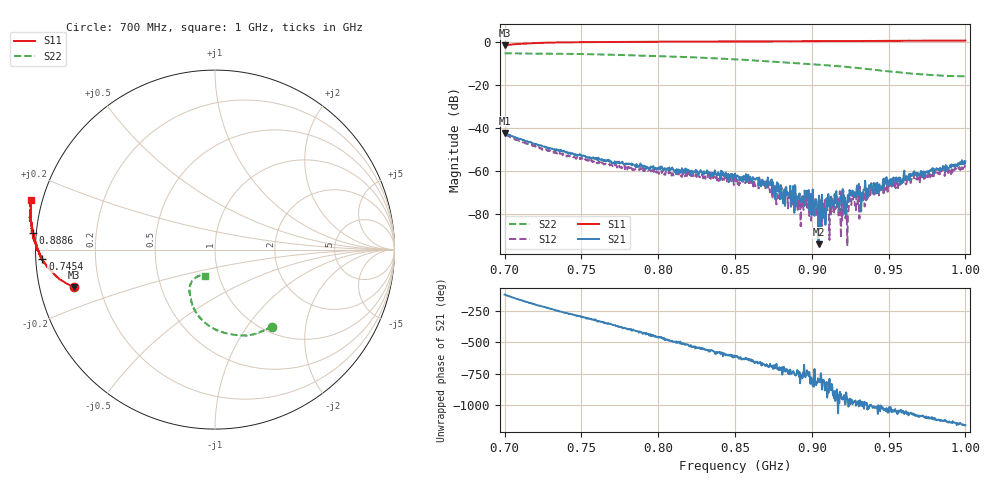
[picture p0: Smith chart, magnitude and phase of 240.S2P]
! C:\Users\rflab\Downloads\Lab5_KD_ZW\Q2\728 MHz\240.S2P
! Touchstone 1.1 file saved by VNA.EXE V1.65 (www.ke5fx.com/gpib/readme.htm)
! 11/18/2024 9:24:31 PM
!  Source: HEWLETT PACKARD,8753D,0,6.14
!  Min freq: 7.000000E+008 Hz
!  Max freq: 1.000000E+009 Hz
!  Points: 801
!  Params: S11 S21 S12 S22
# GHZ S MA R 50
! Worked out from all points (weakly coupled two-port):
!   801 points, 700 MHz to 1 GHz, reference 50 ohm
!   highest |S21| = -42.37 dB at 700 MHz (marker M1); lowest = -94.0 dB at 904.4 MHz (marker M2)
!   lowest |S11| = -1.8 dB at 700 MHz (marker M3), VSWR 9.63, Z = 5.28 - j6.48 ohm
!   |S11| at or under -10 dB: nowhere
!   |S22| runs from -16.1 to -5.4 dB; largest |S21 - S12| = 0.0025
!   S11 on the Smith chart (normalised r, x): 700 MHz: 0.11, -0.13; 745.4 MHz: 0.02, -0.03; 888.6 MHz: -0.01, +0.04; 1 GHz: -0.03, +0.13
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0.7  0.8119 -165.1  0.007611 -121.1  0.007107 -140.5  0.5349 -53.6
0.745375  0.9635 -176.9  0.002361 77.2  0.002129 57.5  0.5163 -66.5
0.75025  0.9716 -177.3  0.002148 59.3  0.001996 44.0  0.5137 -68.1
0.800125  0.993 179.1  0.001085 -103.0  0.000941 -121.7  0.4609 -85.2
0.85  1.011 176.7  0.000866 104.3  0.000678 86.0  0.3871 -102.6
0.867625  1.012 176.2  0.000631 55.6  0.000515 47.1  0.3559 -108.4
0.8725  1.012 175.9  0.000528 27.3  0.000363 23.4  0.3468 -109.9
0.8755  1.014 175.6  0.000414 39.8  0.000324 -5.8  0.3419 -110.9
0.881875  1.016 175.5  0.000288 24.3  0.000272 7.8  0.3298 -112.8
0.888625  1.018 174.9  0.000107 -24.2  0.00016 -30.1  0.3179 -114.5
0.90025  1.022 174.5  0.000218 -90.2  9.2e-05 -14.6  0.2968 -117.3
0.904375  1.023 174.3  2e-05 -69.6  0.000148 -97.7  0.2906 -118.4
0.9085  1.023 174.2  0.000132 -161.5  0.000212 -68.8  0.2838 -119.5
0.9115  1.025 174.2  0.00015 -69.3  2.5e-05 142.5  0.2783 -120.3
0.91675  1.027 173.8  0.000165 122.3  0.000263 105.5  0.2692 -121.8
0.920125  1.029 173.4  0.00038 125.5  8.9e-05 106.9  0.2634 -122.6
0.922375  1.028 173.5  0.000177 -177.7  0.00013 161.2  0.2589 -123.1
0.926125  1.024 173.3  0.000289 123.2  0.000318 117.4  0.2517 -124.0
0.9325  1.031 172.6  0.000263 109.6  0.000274 74.1  0.2392 -125.2
0.939625  1.032 172.1  0.000301 60.4  0.000358 58.1  0.2241 -126.0
0.950125  1.045 171.2  0.000552 24.0  0.000402 31.2  0.2035 -125.7
1  1.06 164.8  0.001673 -77.9  0.001354 -93.6  0.1575 -111.6
